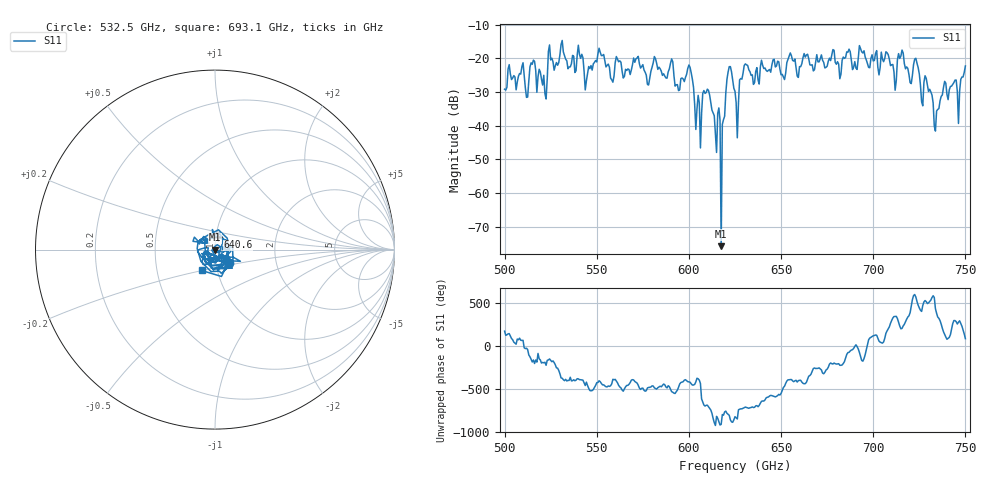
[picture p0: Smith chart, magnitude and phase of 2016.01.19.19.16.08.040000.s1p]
!Created with skrf (http://scikit-rf.org).
# GHz S RI R 50.0
!freq ReS11 ImS11
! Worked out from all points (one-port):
!   401 points, 500 GHz to 750 GHz, reference 50 ohm
!   lowest |S11| = -75.8 dB at 617.5 GHz (marker M1), VSWR 1.00, Z = 50 + j0.00426 ohm
!   |S11| at or under -10 dB: start of sweep to end of sweep
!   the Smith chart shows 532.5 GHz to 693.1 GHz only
!   S11 on the Smith chart (normalised r, x): 532.5 GHz: 1.15, -0.18; 640.6 GHz: 1.02, +0.14; 693.1 GHz: 0.84, -0.20
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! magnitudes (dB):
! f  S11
! 500 GHz  -29.2
! 511.9 GHz  -31.6
! 515 GHz  -21.8
! 521.9 GHz  -30.5
! 525 GHz  -20.5
! 531.2 GHz  -14.7
! 532.5 GHz  -19.3
! 544.4 GHz  -26.7
! 551.9 GHz  -18.2
! 558.1 GHz  -26.4
! 562.5 GHz  -20.8
! 590 GHz  -21.5
! 593.8 GHz  -27.8
! 600.6 GHz  -22.7
! 605 GHz  -31.0
! 610 GHz  -29.2
! 617.5 GHz  -75.8
! 621.9 GHz  -22.5
! 625 GHz  -29.8
! 630.6 GHz  -21.7
! 640.6 GHz  -23.1
! 656.2 GHz  -20.7
! 687.5 GHz  -18.0
! 693.1 GHz  -17.2
! 718.8 GHz  -23.0
! 723.1 GHz  -20.0
! 734.4 GHz  -35.7
! 750 GHz  -22.3
